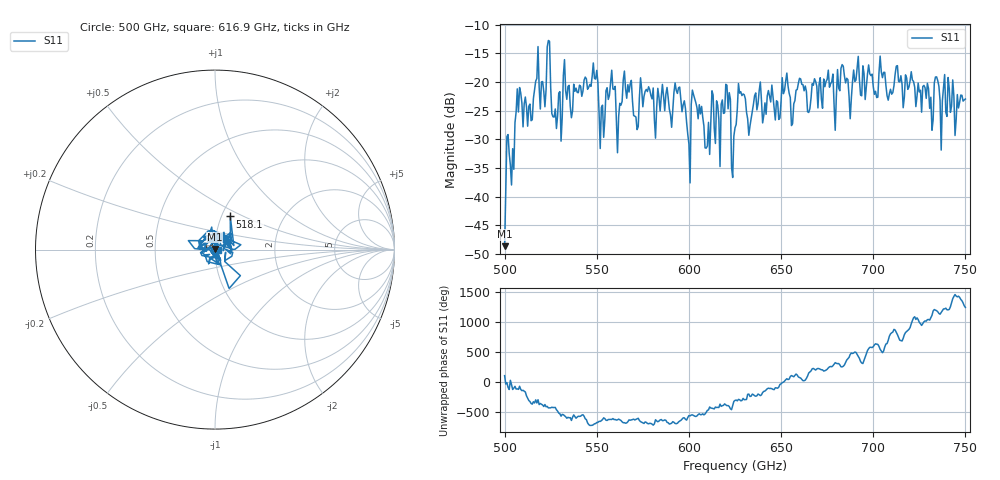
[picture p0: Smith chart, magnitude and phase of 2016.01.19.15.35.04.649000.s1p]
!Created with skrf (http://scikit-rf.org).
# GHz S RI R 50.0
!freq ReS11 ImS11
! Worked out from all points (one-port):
!   401 points, 500 GHz to 750 GHz, reference 50 ohm
!   lowest |S11| = -48.7 dB at 500 GHz (marker M1), VSWR 1.01, Z = 49.9 + j0.356 ohm
!   |S11| at or under -10 dB: start of sweep to end of sweep
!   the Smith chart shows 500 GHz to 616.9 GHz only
!   S11 on the Smith chart (normalised r, x): 500 GHz: 1.00, +0.01; 518.1 GHz: 1.10, +0.42; 616.9 GHz: 1.04, -0.01
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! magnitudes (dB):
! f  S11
! 500 GHz  -48.7
! 501.9 GHz  -29.2
! 504.4 GHz  -31.6
! 507.5 GHz  -25.2
! 513.8 GHz  -23.9
! 518.1 GHz  -13.8
! 523.8 GHz  -12.8
! 531.2 GHz  -26.2
! 548.8 GHz  -19.4
! 552.5 GHz  -24.4
! 558.8 GHz  -21.2
! 562.5 GHz  -23.7
! 565.6 GHz  -21.2
! 571.2 GHz  -26.1
! 593.8 GHz  -22.0
! 599.4 GHz  -29.1
! 602.5 GHz  -22.2
! 610 GHz  -31.2
! 616.9 GHz  -34.8
! 621.2 GHz  -24.7
! 625 GHz  -28.0
! 628.1 GHz  -21.7
! 632.5 GHz  -29.3
! 651.9 GHz  -21.5
! 656.2 GHz  -27.3
! 687.5 GHz  -26.4
! 718.8 GHz  -21.3
! 750 GHz  -23.0
